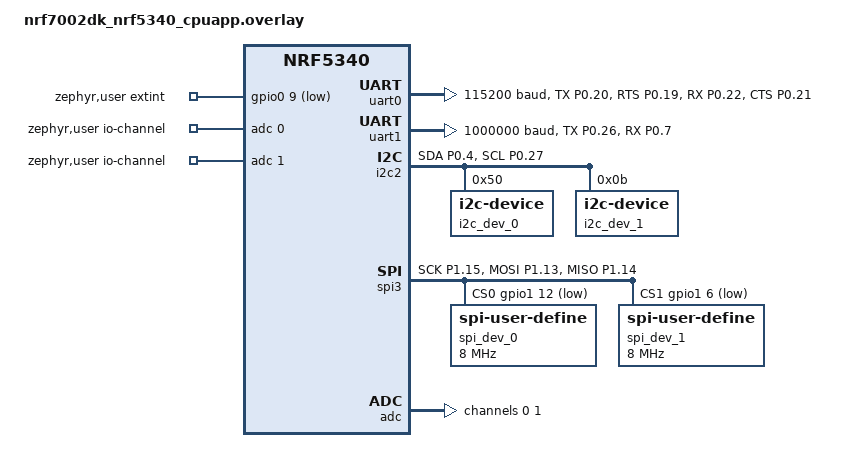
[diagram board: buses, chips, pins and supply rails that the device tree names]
/* overlay file for app core */

/ {
	chosen {
		nordic,pm-ext-flash = &mx25r64;
	};
	aliases {
		myi2c = &i2c2;
		myspi = &spi3;
		myuart = &uart1; 
	};	
	/* See &GPIO0 definition below */
	zephyr,user {
		io-channels = <&adc 0>, <&adc 1>;
		extint-gpios = <&gpio0 9 GPIO_ACTIVE_LOW>;
	};		
};

&uicr {
	nfct-pins-as-gpios;
};

&pinctrl {
	uart0_default: uart0_default {
		group1 {
			psels = <NRF_PSEL(UART_TX, 0, 20)>,
				<NRF_PSEL(UART_RTS, 0, 19)>;
		};
		group2 {
			psels = <NRF_PSEL(UART_RX, 0, 22)>,
				<NRF_PSEL(UART_CTS, 0, 21)>;
			bias-pull-up;
		};
	};

	uart0_sleep: uart0_sleep {
		group1 {
			psels = <NRF_PSEL(UART_TX, 0, 20)>,
				<NRF_PSEL(UART_RX, 0, 22)>,
				<NRF_PSEL(UART_RTS, 0, 19)>,
				<NRF_PSEL(UART_CTS, 0, 21)>;
			low-power-enable;
		};
	};

	uart1_default: uart1_default {
		group1 {
			psels = <NRF_PSEL(UART_TX, 0, 26)>;
		};
		group2 {
			psels = <NRF_PSEL(UART_RX, 0, 7)>;
			bias-pull-up;
		};
	};

	uart1_sleep: uart1_sleep {
		group1 {
			psels = <NRF_PSEL(UART_TX, 0, 26)>,
				<NRF_PSEL(UART_RX, 0, 7)>;
			low-power-enable;
		};
	};

	i2c2_default: i2c2_default {
		group1 {
			psels = <NRF_PSEL(TWIM_SDA, 0, 4)>,
				<NRF_PSEL(TWIM_SCL, 0, 27)>;
			bias-pull-up;
			nordic,drive-mode = <NRF_DRIVE_S0D1>;				
		};
	};

	i2c2_sleep: i2c2_sleep {
		group1 {
			psels = <NRF_PSEL(TWIM_SDA, 0, 4)>,
				<NRF_PSEL(TWIM_SCL, 0, 27)>;
			low-power-enable;
		};
	};	

	spi3_default: spi3_default {
		group1 {
			psels = <NRF_PSEL(SPIM_SCK, 1, 15)>,
				<NRF_PSEL(SPIM_MOSI, 1, 13)>,
				<NRF_PSEL(SPIM_MISO, 1, 14)>;
		};
	};

	spi3_sleep: spi3_sleep {
		group1 {
			psels = <NRF_PSEL(SPIM_SCK, 1, 15)>,
				<NRF_PSEL(SPIM_MOSI, 1, 13)>,
				<NRF_PSEL(SPIM_MISO, 1, 14)>;
			low-power-enable;
		};
	};
};


&uart0 {
	compatible = "nordic,nrf-uarte";
	status = "okay";
	current-speed = < 115200 >;
	pinctrl-0 = < &uart0_default >;
	pinctrl-1 = < &uart0_sleep >;
	pinctrl-names = "default", "sleep";	
	/* delete rts-pin&cts-pin to release the related 2 pins for other uses */
	/delete-property/ rts-pin;
	/delete-property/ cts-pin;
};

&uart1 {
	status = "okay";
	current-speed = < 1000000 >;
	pinctrl-0 = < &uart1_default >;
	pinctrl-1 = < &uart1_sleep >;
	pinctrl-names = "default", "sleep";	
};

&i2c1 {
	status = "disabled";
};

&i2c2 {
	status = "okay";
	compatible = "nordic,nrf-twim";
	pinctrl-0 = < &i2c2_default >;
	pinctrl-1 = < &i2c2_sleep >;
	pinctrl-names = "default", "sleep";	
	i2c_dev_0: i2c_dev_0@0 {
		compatible = "i2c-device";
		reg = <0x50>;
	};
	i2c_dev_1: i2c_dev_1@1 {
		compatible = "i2c-device";
		reg = <0x0B>;
	}; 	
};

&spi2 {
	status = "disabled";
};

&spi3 {
	status = "okay"; 
	compatible = "nordic,nrf-spim";
	pinctrl-0 = <&spi3_default>;
	pinctrl-1 = <&spi3_sleep>;
	pinctrl-names = "default", "sleep";	
	cs-gpios = <&gpio1 12 GPIO_ACTIVE_LOW>, <&gpio1 6 GPIO_ACTIVE_LOW>;
	spi_dev_0: spi_dev_0@0 {
		compatible = "spi-user-define";
		reg = <0>;
		spi-max-frequency = <DT_FREQ_M(8)>;
	}; 
	spi_dev_1: spi_dev_1@1 {
		compatible = "spi-user-define";
		reg = <1>;
		spi-max-frequency = <DT_FREQ_M(8)>;
	};    			   	
};

&adc {
	status = "okay";
	#address-cells = <1>;
	#size-cells = <0>;

	channel@0 {
		reg = <0>;
		zephyr,gain = "ADC_GAIN_1_6";
		zephyr,reference = "ADC_REF_INTERNAL";
		zephyr,acquisition-time = <ADC_ACQ_TIME(ADC_ACQ_TIME_MICROSECONDS, 20)>;
		zephyr,input-positive = <NRF_SAADC_AIN1>;			
		zephyr,vref-mv = <600>;
		zephyr,resolution = <10>;						
	};
	
	channel@1 {
		reg = <1>;
		zephyr,gain = "ADC_GAIN_1_6";
		zephyr,reference = "ADC_REF_INTERNAL";
		zephyr,acquisition-time = <ADC_ACQ_TIME(ADC_ACQ_TIME_MICROSECONDS, 20)>;
		zephyr,input-positive = <NRF_SAADC_VDD>;		
		zephyr,vref-mv = <600>;
		zephyr,resolution = <10>;					
	};

};

/delete-node/ &storage_partition;
&flash0{
		partitions {
			compatible = "fixed-partitions";
			#address-cells = < 0x1 >;
			#size-cells = < 0x1 >;

			storage_partition: partition@fc000 {
				label = "storage";
				reg = < 0xfc000 0x4000 >;
			};
		};
};

&gpio0 {
	/* pin9 sense for edge */
	sense-edge-mask = <0x200>;
};
